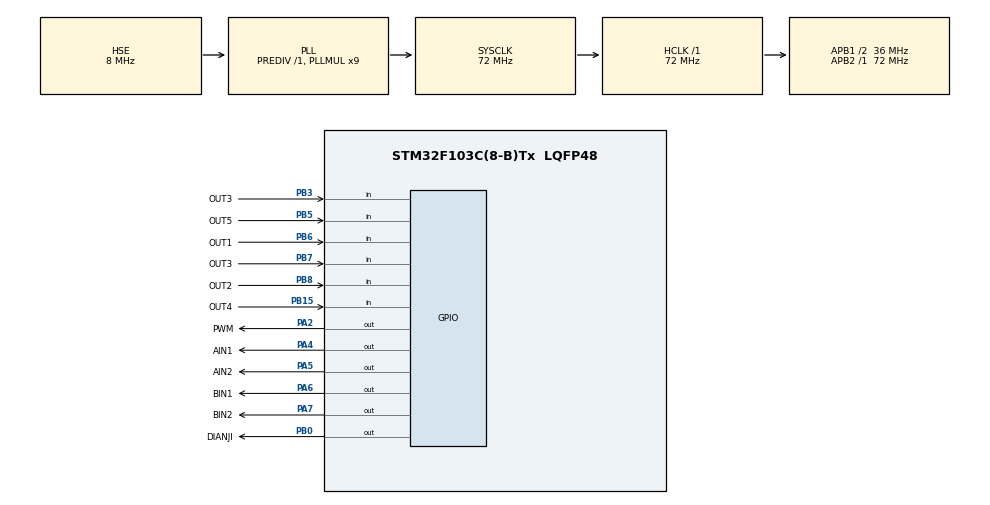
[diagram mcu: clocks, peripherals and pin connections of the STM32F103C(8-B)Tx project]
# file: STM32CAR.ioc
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Mcu.Family=STM32F1
Mcu.Name=STM32F103C(8-B)Tx
Mcu.Package=LQFP48
NVIC.PriorityGroup=NVIC_PRIORITYGROUP_4
PA13.Mode=Serial_Wire
PA13.Signal=SYS_JTMS-SWDIO
PA14.Mode=Serial_Wire
PA14.Signal=SYS_JTCK-SWCLK
PA2.GPIO_Label=PWM
PA2.Signal=GPIO_Output
PA4.GPIO_Label=AIN1
PA4.Signal=GPIO_Output
PA5.GPIO_Label=AIN2
PA5.Signal=GPIO_Output
PA6.GPIO_Label=BIN1
PA6.Signal=GPIO_Output
PA7.GPIO_Label=BIN2
PA7.Signal=GPIO_Output
PB0.GPIO_Label=DIANJI
PB0.Signal=GPIO_Output
PB15.GPIO_Label=OUT4
PB15.Signal=GPIO_Input
PB3.GPIO_Label=OUT3
PB3.Signal=GPIO_Input
PB5.GPIO_Label=OUT5
PB5.Signal=GPIO_Input
PB6.GPIO_Label=OUT1
PB6.Signal=GPIO_Input
PB7.GPIO_Label=OUT3
PB7.Signal=GPIO_Input
PB8.GPIO_Label=OUT2
PB8.Signal=GPIO_Input
PC14-OSC32_IN.Mode=LSE-External-Oscillator
PC14-OSC32_IN.Signal=RCC_OSC32_IN
PC15-OSC32_OUT.Mode=LSE-External-Oscillator
PC15-OSC32_OUT.Signal=RCC_OSC32_OUT
PD0-OSC_IN.Mode=HSE-External-Oscillator
PD0-OSC_IN.Signal=RCC_OSC_IN
PD1-OSC_OUT.Mode=HSE-External-Oscillator
PD1-OSC_OUT.Signal=RCC_OSC_OUT
ProjectManager.HeapSize=0x200
ProjectManager.StackSize=0x400
ProjectManager.TargetToolchain=CMake
RCC.AHBFreq_Value=72000000
RCC.APB1CLKDivider=RCC_HCLK_DIV2
RCC.APB1Freq_Value=36000000
RCC.APB1TimFreq_Value=72000000
RCC.APB2Freq_Value=72000000
RCC.APB2TimFreq_Value=72000000
RCC.HCLKFreq_Value=72000000
RCC.PLLMUL=RCC_PLL_MUL9
RCC.PLLSourceVirtual=RCC_PLLSOURCE_HSE
RCC.SYSCLKFreq_VALUE=72000000
RCC.SYSCLKSource=RCC_SYSCLKSOURCE_PLLCLK
RCC.USBFreq_Value=72000000
board=custom

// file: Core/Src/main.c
/* USER CODE BEGIN Header */
/**
  ******************************************************************************
  * @file           : main.c
  * @brief          : Main program body
  ******************************************************************************
  * @attention
  *
  * Copyright (c) 2026 STMicroelectronics.
  * All rights reserved.
  *
  * This software is licensed under terms that can be found in the LICENSE file
  * in the root directory of this software component.
  * If no LICENSE file comes with this software, it is provided AS-IS.
  *
  ******************************************************************************
  */
/* USER CODE END Header */
#include "main.h"
#include "gpio.h"

/* USER CODE BEGIN Includes */
#include "car_config.h"
#include "motor.h"
#include "tracking.h"
/* USER CODE END Includes */

/* USER CODE BEGIN PV */

/* 下面的 volatile 变量专门留给调试器观察（VSCode/Keil 的 Watch 窗口直接输名字） */
volatile uint8_t  g_car_pattern  = 0U;   /* 5 路传感器原始组合，bit0=OUT1 .. bit4=OUT5 */
volatile int16_t  g_car_error    = 0;    /* 偏差 -100 ~ +100，正数表示线在右边 */
volatile uint8_t  g_car_state    = 0U;   /* 0=正常压线 1=十字/横线 2=脱线 */
volatile int16_t  g_car_left     = 0;    /* 左轮输出 -100 ~ +100 */
volatile int16_t  g_car_right    = 0;    /* 右轮输出 -100 ~ +100 */
volatile uint32_t g_car_loops    = 0U;   /* 控制循环执行次数，不增长说明程序卡死 */
volatile uint8_t  g_car_phase    = 0U;   /* 0=正常 1=脱线惯性 2=正向搜索 3=反向搜索 4=放弃停车 */

static uint32_t s_ctrl_tick    = 0U;     /* 控制节拍基准 */
static uint8_t  s_lost_active  = 0U;     /* 是否处于脱线恢复流程 */
static uint32_t s_lost_start   = 0U;     /* 本次脱线开始的时刻 */
static int16_t  s_lost_dir     = 1;      /* 搜索方向：+1 往右扫，-1 往左扫 */
static int16_t  s_err_filt     = 0;      /* 低通滤波后的偏差，抑制抖动 */
static int16_t  s_err_prev     = 0;      /* 上一帧滤波偏差，用于微分项（探头前置补偿） */
static int16_t  s_last_left    = 0;      /* 脱线前的左轮输出，惯性段沿用 */
static int16_t  s_last_right   = 0;      /* 脱线前的右轮输出 */
static int16_t  s_last_error   = 0;      /* 最近一次有效偏差，供调试观察 */
static uint8_t  s_cross_active = 0U;     /* 是否正在直行通过十字 */
static uint32_t s_cross_start  = 0U;     /* 开始压十字的时刻 */
static uint8_t  s_cross_timeout = 0U;    /* 本次压十字已超时，锁存后转入脱线恢复 */
static uint8_t  s_corner_active = 0U;    /* 是否正在执行直角转弯 */
static uint32_t s_corner_start  = 0U;    /* 直角转弯开始时刻 */

/* USER CODE END PV */

void SystemClock_Config(void);
/* USER CODE BEGIN PFP */
static void Car_Init(void);
static void Car_ControlStep(void);
#if (CAR_SELFTEST_SPIN_MS > 0U)
static void Car_SpinCheck(void);
#endif
/* USER CODE END PFP */

/* USER CODE BEGIN 0 */

/**
  * @brief  限幅
  */
static int16_t clamp_speed(int32_t value, int16_t limit)
{
  if (value > (int32_t)limit)
  {
    return limit;
  }
  if (value < -(int32_t)limit)
  {
    return (int16_t)(-limit);
  }
  return (int16_t)value;
}

/**
  * @brief  上电轮子自检（三段），用来定位"方向反"和"某一路不转"
  * @note   1) 两轮同时小幅度前进 -> 看车头是往前还是往后
  *            往后 => 车轮前后装反，改 CAR_LEFT/RIGHT_MOTOR_SIGN
  *         2) 只转左轮 -> 验证 PWMB(PA1) 这一路通不通
  *         3) 只转右轮 -> 验证 PWMA(PA2) 这一路通不通
  */
#if (CAR_SELFTEST_SPIN_MS > 0U)
static void Car_SpinCheck(void)
{
  Motor_SetSpeed(30, 30);                     /* 1) 两轮一起前进 */
  HAL_Delay(CAR_SELFTEST_SPIN_MS);
  Motor_Stop();
  HAL_Delay(150U);

  Motor_SetSpeed(30, 0);                      /* 2) 只有左轮（BIN / PWMB） */
  HAL_Delay(CAR_SELFTEST_SPIN_MS);
  Motor_Stop();
  HAL_Delay(150U);

  Motor_SetSpeed(0, 30);                      /* 3) 只有右轮（AIN / PWMA） */
  HAL_Delay(CAR_SELFTEST_SPIN_MS);
  Motor_Stop();
  HAL_Delay(300U);

  /* 4) 原地左转 —— 演示 OUT1/OUT2 那一侧的直角弯速度 */
  Motor_SetSpeed(-(int16_t)CAR_CORNER_SPEED, (int16_t)CAR_CORNER_SPEED);
  HAL_Delay(CAR_SELFTEST_CORNER_MS);
  Motor_Stop();
  HAL_Delay(400U);

  /* 5) 原地右转 —— 演示 OUT4/OUT5 那一侧的直角弯速度 */
  Motor_SetSpeed((int16_t)CAR_CORNER_SPEED_RIGHT, -(int16_t)CAR_CORNER_SPEED_RIGHT);
  HAL_Delay(CAR_SELFTEST_CORNER_MS);
  Motor_Stop();
  HAL_Delay(200U);
}
#endif

/**
  * @brief  小车初始化：状态灯 -> 循迹阵列(+自动极性) -> 电机(+轮子自检)
  */
static void Car_Init(void)
{
#if CAR_USE_STATUS_LED
  GPIO_InitTypeDef gpio = {0};
  uint8_t i;
#endif

#if CAR_USE_STATUS_LED
  /* 板载 PC13 LED（低电平点亮）。.ioc 里没配置这个脚，这里自行初始化。
   * 最先初始化它，后面每一步的状态都能立刻从灯上看出来 */
  __HAL_RCC_GPIOC_CLK_ENABLE();
  HAL_GPIO_WritePin(GPIOC, GPIO_PIN_13, GPIO_PIN_SET);
  gpio.Pin   = GPIO_PIN_13;
  gpio.Mode  = GPIO_MODE_OUTPUT_PP;
  gpio.Pull  = GPIO_NOPULL;
  gpio.Speed = GPIO_SPEED_FREQ_LOW;
  HAL_GPIO_Init(GPIOC, &gpio);

  /* ===== 固件版本指示：快闪 3 次 = 本版 =====
   * 用来确认板子里烧进去的确实是这次编译出来的程序。
   * 看不到这 3 次闪烁，说明烧的还是旧 hex，后面调参数都没有意义。 */
  for (i = 0U; i < 3U; i++)
  {
    HAL_GPIO_WritePin(GPIOC, GPIO_PIN_13, GPIO_PIN_RESET);
    HAL_Delay(100U);
    HAL_GPIO_WritePin(GPIOC, GPIO_PIN_13, GPIO_PIN_SET);
    HAL_Delay(200U);
  }
  HAL_Delay(800U);           /* 停一下，和后面的初始化完成提示区分开 */
#endif

  /* 5 路输入统一改成内部上拉：本车黑线对应低电平，
   * 那么"没接线/悬空的脚"会被上拉成高 = 不压线，不会误触发。
   * 注意：必须先配好 GPIO，再 Track_Init()，否则第一帧读到的是未配置的电平。 */
  {
    GPIO_InitTypeDef gpio_in = {0};

    gpio_in.Mode = GPIO_MODE_INPUT;
    gpio_in.Pull = CAR_SENSOR_PULL;

    gpio_in.Pin = CAR_S1_PIN; HAL_GPIO_Init(CAR_S1_PORT, &gpio_in);
    gpio_in.Pin = CAR_S2_PIN; HAL_GPIO_Init(CAR_S2_PORT, &gpio_in);
    gpio_in.Pin = CAR_S3_PIN; HAL_GPIO_Init(CAR_S3_PORT, &gpio_in);
    gpio_in.Pin = CAR_S4_PIN; HAL_GPIO_Init(CAR_S4_PORT, &gpio_in);
    gpio_in.Pin = CAR_S5_PIN; HAL_GPIO_Init(CAR_S5_PORT, &gpio_in);

    /* PB3（.ioc 里被重复标成 OUT3 的另一个脚）已经确认不用了。
     * 悬空的输入脚会被电机干扰耦合噪声，这里拉成上拉输入，避免它乱跳。 */
    gpio_in.Pin = OUT3_Pin;   HAL_GPIO_Init(OUT3_GPIO_Port, &gpio_in);
  }

  Track_Init();

#if CAR_AUTO_POLARITY
  /* 自动校准极性：约 0.4 秒。
   * 判据是"压线率"——正常赛道背景不可能有大片黑，
   * 如果采样时超过 60% 的读数都是"压线"，说明极性反了，自动翻转。 */
  (void)Track_AutoPolarity(40U, 10U);
#endif

#if CAR_SENSOR_SELFTEST
  /* 自检模式：不初始化电机，车绝不会动。
   * PC13 灯跟随传感器 —— 任意一路压到黑线灯亮，用来核对极性。 */
  for (;;)
  {
    Track_Update();

    g_car_pattern = Track_Get()->pattern;
    g_car_error   = Track_Get()->error;
    g_car_state   = (uint8_t)Track_Get()->state;

    HAL_GPIO_WritePin(GPIOC, GPIO_PIN_13,
                      (Track_Get()->count > 0U) ? GPIO_PIN_RESET : GPIO_PIN_SET);
    HAL_Delay(20U);
  }
#endif

  Motor_Init();

#if (CAR_SELFTEST_SPIN_MS > 0U)
  Car_SpinCheck();
#endif

#if CAR_USE_STATUS_LED
  /* 初始化完成：长亮 500ms 一次（和上面的"版本 3 短闪"区分开） */
  HAL_GPIO_WritePin(GPIOC, GPIO_PIN_13, GPIO_PIN_RESET);
  HAL_Delay(500U);
  HAL_GPIO_WritePin(GPIOC, GPIO_PIN_13, GPIO_PIN_SET);
#endif

  s_ctrl_tick     = HAL_GetTick();
  s_lost_active   = 0U;
  s_cross_active  = 0U;
  s_cross_timeout = 0U;
  s_lost_dir      = 1;
  s_last_error    = 0;
  s_err_filt      = 0;
  s_err_prev      = 0;
  s_last_left     = 0;
  s_last_right    = 0;
  g_car_phase     = 0U;

  Motor_Stop();
}

/**
  * @brief  循迹控制核心：读传感器 -> 算差速 -> 输出电机
  * @note   每 CAR_CTRL_PERIOD_MS 调用一次
  */
static void Car_ControlStep(void)
{
  const TrackSample *s;
  uint32_t now = HAL_GetTick();
  int32_t  turn;
  int32_t  turn_limit;
  int16_t  base;
  int16_t  abs_err;
  int16_t  left    = 0;
  int16_t  right   = 0;
  uint8_t  brake   = 0U;
  uint8_t  recover = 0U;

  Track_Update();
  s = Track_Get();

  g_car_pattern = s->pattern;
  g_car_error   = s->error;
  g_car_state   = (uint8_t)s->state;
  g_car_loops++;

  if (s->state == TRACK_STATE_GO)
  {
    int16_t gain;
    int16_t d;
    int16_t err_use;

    s_lost_active  = 0U;
    s_cross_active = 0U;
    s_last_error   = s->error;

    /* ---------------- 直角弯：同一侧连续两路以上压线 ---------------- */
    if (s->corner != 0U)
    {
      /* 直角弯方向：corner_dir 表示"线在哪一侧"，再乘两个符号——
       *   CAR_STEER_DIRECTION  和单路循迹共用（保证左右约定一致）
       *   CAR_CORNER_DIR_SIGN  直角弯实测和单路相反，单独翻一次
       * 两侧速度现在都取 20，实测左侧 28 太快、右侧 20 正常。 */
      int16_t cdir   = (int16_t)(s->corner_dir * CAR_STEER_DIRECTION * CAR_CORNER_DIR_SIGN);
      int16_t cspeed = (s->corner_dir > 0) ? (int16_t)CAR_CORNER_SPEED_RIGHT
                                           : (int16_t)CAR_CORNER_SPEED;

      if (s_corner_active == 0U)
      {
        s_corner_active = 1U;
        s_corner_start  = now;
      }

      if ((now - s_corner_start) <= (uint32_t)CAR_CORNER_MAX_MS)
      {
        /* 原地转向：一侧正转、另一侧反转，转弯半径最小。
         * 一直转到 OUT3 重新压线（corner 条件不再成立）为止，
         * 然后自然退出这个分支，回到下面的正常修正。 */
        left  = (int16_t)(-cdir * cspeed);
        right = (int16_t)(cdir * cspeed);
        g_car_phase = 6U;

        /* 转弯过程中清掉滤波残值：转完一旦 OUT3 压线，误差应该是干净的 0，
         * 否则残留的旧偏差会让车在转完之后再多甩一下。 */
        s_err_filt = 0;
      }
      else
      {
        /* 转了 1.4 秒还没转回来：放弃，转去脱线恢复 */
        s_corner_active = 0U;
        recover = 1U;
      }
    }
    else
    {
      s_corner_active = 0U;
    }

    /* 只有"不在直角弯里"时才走正常循迹计算，否则会把上面的原地转向覆盖掉 */
    if ((recover == 0U) && (s->corner == 0U))
    {
      /* 直接使用传感器算出的偏差。
       * 注意：全黑（count=5）时加权平均是 0 -> 直行。
       * 之前这里"沿用最后一次方向"会把车钉在原地一直转，已去掉。 */
      err_use = s->error;

      /* 一阶低通：开关量传感器在两路之间跳变时，原始误差会 ±50 地跳，
       * 直接拿去做 P 控制就会左右摆。这里把跳变磨平，是抑制抖动的关键。 */
      s_err_filt = (int16_t)((((int32_t)s_err_filt * (100 - CAR_ERROR_FILTER))
                              + ((int32_t)err_use * CAR_ERROR_FILTER)) / 100);

      abs_err = (s_err_filt >= 0) ? s_err_filt : (int16_t)(-s_err_filt);

    /* 死区：滤波后误差很小就直行，避免中间那一路来回跳引起抖动 */
    if (abs_err < (int16_t)CAR_STEER_DEADBAND)
    {
      turn = 0;
      base = (int16_t)CAR_BASE_SPEED;
    }
    else
    {
      /* 误差越大越慢：弯道里主动降速，转弯半径才压得住，不会冲出去 */
      base = (int16_t)((int32_t)CAR_BASE_SPEED -
                       ((int32_t)abs_err * (int32_t)CAR_TURN_SLOWDOWN) / 100);

      /* 增益调度：单路轻微偏离用柔和增益（平滑回中，不画龙），
       * 两路以上明显偏一侧用果断增益（直角弯要猛拐） */
      gain = (abs_err < (int16_t)CAR_SOFT_BAND) ? (int16_t)CAR_GAIN_SOFT
                                                : (int16_t)CAR_STEER_GAIN;

      /* 微分项：偏差变化越快，额外加越多转向量。
       * 探头装在车轴前方 45mm，是"提前看到"弯道的；
       * 有了这一项，车会在偏差刚出现时就先转，而不是等误差攒大再追。 */
      d = (int16_t)(s_err_filt - s_err_prev);
      if (d > (int16_t)CAR_D_LIMIT)
      {
        d = (int16_t)CAR_D_LIMIT;
      }
      else if (d < -(int16_t)CAR_D_LIMIT)
      {
        d = -(int16_t)CAR_D_LIMIT;
      }

      turn = (((int32_t)s_err_filt * gain * CAR_STEER_DIRECTION)
              + ((int32_t)d * CAR_STEER_KD * CAR_STEER_DIRECTION)) / 100;
    }

    s_err_prev = s_err_filt;
    if (base < (int16_t)CAR_MIN_SPEED)
    {
      base = (int16_t)CAR_MIN_SPEED;
    }

    /* 转向力度上限：小误差温和（内轮不反转），大误差放开（内轮可反转，急弯才转得过来） */
#if (CAR_ALLOW_INNER_REVERSE == 0)
    turn_limit = (int32_t)base - (int32_t)CAR_MIN_SPEED;
#else
    turn_limit = (abs_err >= (int16_t)CAR_HARD_TURN_ERROR)
                   ? ((int32_t)base + (int32_t)CAR_MIN_SPEED)
                   : ((int32_t)base - (int32_t)CAR_MIN_SPEED);
#endif
    if (turn_limit < 0)
    {
      turn_limit = 0;
    }
    if (turn > turn_limit)
    {
      turn = turn_limit;
    }
    if (turn < -turn_limit)
    {
      turn = -turn_limit;
    }

    left  = clamp_speed((int32_t)base + turn, CAR_MAX_SPEED);
    right = clamp_speed((int32_t)base - turn, CAR_MAX_SPEED);

    /* 内侧轮保底正速度：完全停转的轮子容易被线拖住 */
    if ((left > 0) && (left < (int16_t)CAR_MIN_SPEED))
    {
      left = (int16_t)CAR_MIN_SPEED;
    }
    if ((right > 0) && (right < (int16_t)CAR_MIN_SPEED))
    {
      right = (int16_t)CAR_MIN_SPEED;
    }

      g_car_phase = 0U;

      s_last_left  = left;
      s_last_right = right;
    }
  }
  else if (s->state == TRACK_STATE_CROSS)
  {
    if (s_cross_active == 0U)
    {
      s_cross_active  = 1U;
      s_cross_start   = now;
      s_cross_timeout = 0U;
    }

    if ((s_cross_timeout == 0U) && ((now - s_cross_start) <= (uint32_t)CAR_CROSS_MAX_MS))
    {
      /* 十字 / 横向黑线：低速直行通过（速度必须低，否则车头会冲过拐角，
       * 红外探头越过垂直线就再也看不到轨道了） */
      s_lost_active = 0U;
      left  = (int16_t)CAR_CROSS_SPEED;
      right = (int16_t)CAR_CROSS_SPEED;

      g_car_phase = 0U;

      s_last_left  = left;
      s_last_right = right;
    }
    else
    {
      /* 压在大片黑上超过时限：锁存后转入脱线恢复（直角弯、T 字路口靠这段处理）。
       * 锁存是必要的，否则每帧都会重新计时，变成"直行 400ms -> 恢复 1 帧 -> 又直行"的死循环。 */
      s_cross_timeout = 1U;
      recover = 1U;
    }
  }
  else
  {
    /* 五路全白：彻底脱线 */
    s_cross_active  = 0U;
    s_cross_timeout = 0U;
    recover = 1U;
  }

  if (recover != 0U)
  {
    /* ---------- 没识别到黑线：短暂惯性后刹车停住 ---------- */
    uint32_t t;

    if (s_lost_active == 0U)
    {
      s_lost_active = 1U;
      s_lost_start  = now;
      /* 刚脱线，滤波状态无意义，直接清掉避免带进下一段循迹 */
      s_err_filt    = 0;
    }

    t = now - s_lost_start;

    if (t < (uint32_t)CAR_LOST_COAST_MS)
    {
      /* 惯性：按脱线前的方向再走一点点。
       * 处理"瞬间过缝"这类短暂丢线——多数情况这一小段就能重新压回线上，
       * 不用立刻急刹，避免车一顿一顿。 */
      left  = (int16_t)(((int32_t)s_last_left  * 70) / 100);
      right = (int16_t)(((int32_t)s_last_right * 70) / 100);
      g_car_phase = 1U;
    }
    else
    {
      /* 确认丢线：刹车停住，等人把车放回轨道。
       * 不再倒车/原地扫描——那样会在赛道上乱窜。 */
      brake = 1U;
      left  = 0;
      right = 0;
      g_car_phase = 5U;
    }
  }

  if (brake != 0U)
  {
    Motor_Brake();
  }
  else
  {
    Motor_SetSpeed(left, right);
  }

  g_car_left  = left;
  g_car_right = right;

#if CAR_USE_STATUS_LED
  /* 灯语（判断程序在干什么，最直接的窗口）：
   *   常亮       = 压到黑线，正常循迹
   *   快闪(100ms)= 4~5 路同时压线，正在直行通过十字
   *   慢闪(250ms)= 脱线，正在自己搜线（惯性/正向搜索/反向搜索）
   *   熄灭       = 搜索超时，已刹车放弃 */
  if (g_car_phase == 0U)
  {
    if (s->state == TRACK_STATE_CROSS)
    {
      if ((g_car_loops % 5U) == 0U)
      {
        HAL_GPIO_TogglePin(GPIOC, GPIO_PIN_13);
      }
    }
    else
    {
      HAL_GPIO_WritePin(GPIOC, GPIO_PIN_13, GPIO_PIN_RESET);
    }
  }
  else if (g_car_phase <= 4U)
  {
    if ((g_car_loops % 25U) == 0U)
    {
      HAL_GPIO_TogglePin(GPIOC, GPIO_PIN_13);
    }
  }
  else
  {
    HAL_GPIO_WritePin(GPIOC, GPIO_PIN_13, GPIO_PIN_SET);
  }
#endif
}

/* USER CODE END 0 */

int main(void)
{

  /* MCU Configuration--------------------------------------------------------*/

  /* Reset of all peripherals, Initializes the Flash interface and the Systick. */
  HAL_Init();

  /* Configure the system clock */
  SystemClock_Config();

  /* Initialize all configured peripherals */
  MX_GPIO_Init();
  /* USER CODE BEGIN 2 */
  Car_Init();
  /* USER CODE END 2 */

  /* Infinite loop */
  while (1)
  {

    /* USER CODE BEGIN 3 */
    uint32_t now = HAL_GetTick();

    /* 固定 10 ms 节拍跑控制，Systick 的 1 ms 精度足够 */
    if ((now - s_ctrl_tick) >= (uint32_t)CAR_CTRL_PERIOD_MS)
    {
      if ((now - s_ctrl_tick) >= ((uint32_t)CAR_CTRL_PERIOD_MS * 5U))
      {
        s_ctrl_tick = now;                              /* 落后太多就重新对齐 */
      }
      else
      {
        s_ctrl_tick += (uint32_t)CAR_CTRL_PERIOD_MS;
      }

      Car_ControlStep();
    }
  }
  /* USER CODE END 3 */
}

void SystemClock_Config(void)
{
  RCC_OscInitTypeDef RCC_OscInitStruct = {0};
  RCC_ClkInitTypeDef RCC_ClkInitStruct = {0};

  /** Initializes the RCC Oscillators according to the specified parameters
  * in the RCC_OscInitTypeDef structure.
  */
  RCC_OscInitStruct.OscillatorType = RCC_OSCILLATORTYPE_HSE;
  RCC_OscInitStruct.HSEState = RCC_HSE_ON;
  RCC_OscInitStruct.HSEPredivValue = RCC_HSE_PREDIV_DIV1;
  RCC_OscInitStruct.HSIState = RCC_HSI_ON;
  RCC_OscInitStruct.PLL.PLLState = RCC_PLL_ON;
  RCC_OscInitStruct.PLL.PLLSource = RCC_PLLSOURCE_HSE;
  RCC_OscInitStruct.PLL.PLLMUL = RCC_PLL_MUL9;
  if (HAL_RCC_OscConfig(&RCC_OscInitStruct) != HAL_OK)
  {
    Error_Handler();
  }

  /** Initializes the CPU, AHB and APB buses clocks
  */
  RCC_ClkInitStruct.ClockType = RCC_CLOCKTYPE_HCLK|RCC_CLOCKTYPE_SYSCLK
                              |RCC_CLOCKTYPE_PCLK1|RCC_CLOCKTYPE_PCLK2;
  RCC_ClkInitStruct.SYSCLKSource = RCC_SYSCLKSOURCE_PLLCLK;
  RCC_ClkInitStruct.AHBCLKDivider = RCC_SYSCLK_DIV1;
  RCC_ClkInitStruct.APB1CLKDivider = RCC_HCLK_DIV2;
  RCC_ClkInitStruct.APB2CLKDivider = RCC_HCLK_DIV1;

  if (HAL_RCC_ClockConfig(&RCC_ClkInitStruct, FLASH_LATENCY_2) != HAL_OK)
  {
    Error_Handler();
  }
}

void Error_Handler(void)
{
  __disable_irq();
  while (1)
  {
  }
}
